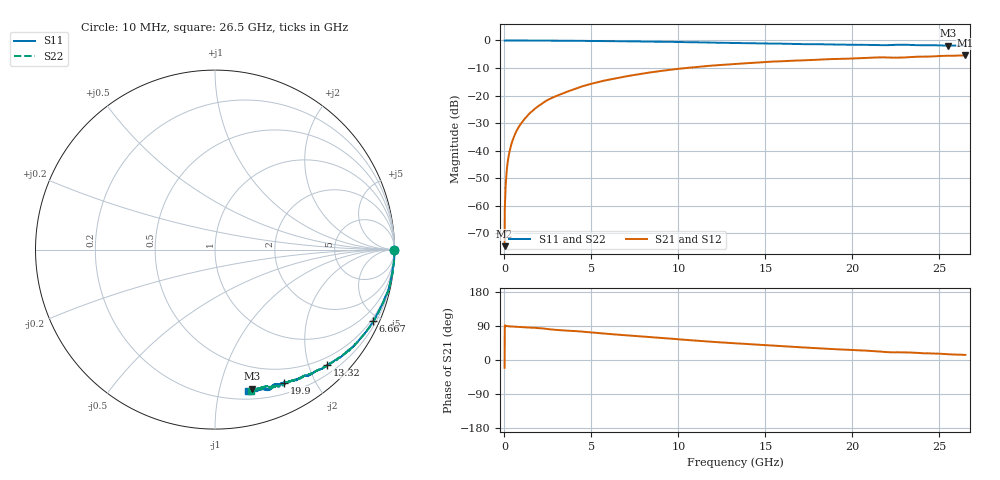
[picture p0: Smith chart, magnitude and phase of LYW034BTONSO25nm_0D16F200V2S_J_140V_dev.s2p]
!Keysight Technologies,N5222B,MY61253708,A.15.00.15
!Date: Wednesday, June 19, 2024 10:03:16
!Correction: S11(C  2-Port  )
!S21(C  2-Port  )
!S12(C  2-Port  )
!S22(C  2-Port  )
!S2P File: Measurements: S11, S21, S12, S22:
# Hz S  RI  R 50
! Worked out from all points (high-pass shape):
!   2651 points, 10 MHz to 26.5 GHz, reference 50 ohm
!   highest |S21| = -5.40 dB at 26.5 GHz (marker M1); lowest = -74.7 dB at 10 MHz (marker M2)
!   |S21| within 3 dB of the highest: 13.56 GHz to end of sweep
!   lowest |S11| = -1.9 dB at 25.5 GHz (marker M3), VSWR 9.07, Z = 14.5 - j62.8 ohm
!   |S11| at or under -10 dB: nowhere
!   |S22| runs from -1.8 to 0.0 dB; largest |S21 - S12| = 0.006
!   S11 on the Smith chart (normalised r, x): 10 MHz: open; 6.667 GHz: 0.36, -4.61; 13.32 GHz: 0.35, -2.32; 19.9 GHz: 0.32, -1.59; 26.5 GHz: 0.27, -1.23
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1e7  0.9986 -0.00312  0.000172 -6.42e-05  -5.59e-06 0.000352  0.9987 -0.00113
7.997358e7  0.9999 -0.00568  1.49e-05 0.00258  8.74e-06 0.0026  0.9994 -0.00521
1.499472e8  1 -0.0107  3.75e-05 0.00494  4.96e-05 0.00496  0.9997 -0.01
1.899321e8  1 -0.0128  6.49e-05 0.00624  0.000101 0.00627  0.9998 -0.0118
2.399132e8  0.9996 -0.0164  0.000141 0.00786  0.000126 0.00792  0.9994 -0.0155
3.398755e8  0.9995 -0.0229  0.000285 0.0111  0.000252 0.0112  0.9995 -0.0218
4.598302e8  0.9989 -0.031  0.000463 0.015  0.000428 0.0151  0.9986 -0.0302
6.197698e8  0.999 -0.0412  0.000805 0.0203  0.000817 0.0204  0.9987 -0.0401
7.997019e8  0.9982 -0.0531  0.00135 0.0261  0.00134 0.0262  0.9977 -0.0519
1.099589e9  0.9974 -0.0738  0.0022 0.0356  0.00224 0.0358  0.996 -0.0714
1.43946e9  0.991 -0.0964  0.00331 0.0471  0.00334 0.0472  0.9933 -0.0923
2.329125e9  0.9823 -0.1508  0.00974 0.0771  0.00992 0.0774  0.9836 -0.1502
4.428332e9  0.9435 -0.279  0.0376 0.1403  0.038 0.1409  0.9458 -0.2747
6.667487e9  0.8819 -0.3992  0.086 0.1957  0.087 0.1961  0.885 -0.3967
8.846664e9  0.8057 -0.5005  0.1428 0.2354  0.144 0.2358  0.8092 -0.4966
1.3255e10  0.6308 -0.6414  0.2692 0.2607  0.271 0.2603  0.6377 -0.6377
1.332497e10  0.6266 -0.6448  0.2718 0.2605  0.2731 0.2597  0.6328 -0.6394
1.767333e10  0.4593 -0.7221  0.3755 0.2342  0.3784 0.2323  0.4738 -0.7181
1.990249e10  0.3839 -0.7435  0.4201 0.2104  0.4222 0.2072  0.3998 -0.7396
2.209166e10  0.3237 -0.756  0.4587 0.1729  0.46 0.1698  0.3222 -0.7617
2.550038e10  0.2046 -0.7748  0.5085 0.137  0.5095 0.1363  0.2293 -0.7776
2.65e10  0.1849 -0.7883  0.522 0.1255  0.5211 0.1218  0.203 -0.7873
